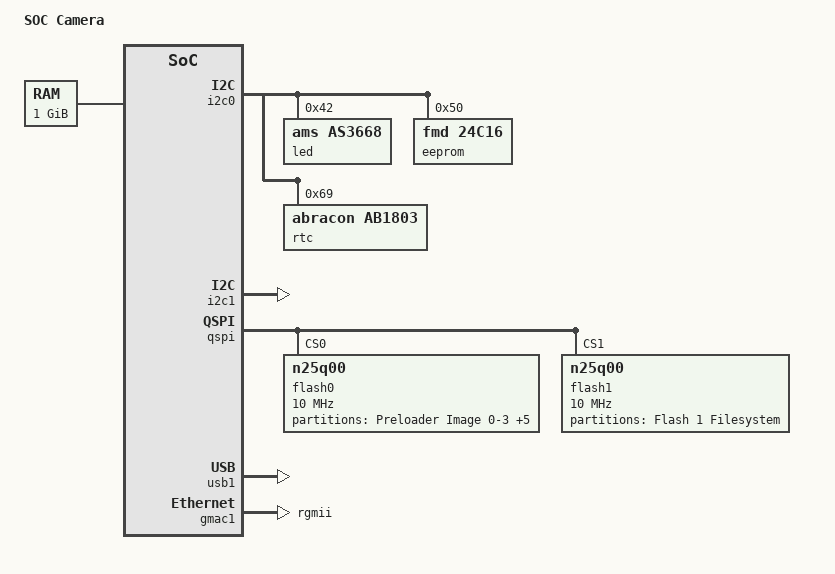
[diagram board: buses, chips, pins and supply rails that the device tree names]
/*
 *  Copyright (C) 2012 Altera Corporation <www.altera.com>
 *
 * This program is free software; you can redistribute it and/or modify
 * it under the terms of the GNU General Public License as published by
 * the Free Software Foundation; either version 2 of the License, or
 * (at your option) any later version.
 *
 * This program is distributed in the hope that it will be useful,
 * but WITHOUT ANY WARRANTY; without even the implied warranty of
 * MERCHANTABILITY or FITNESS FOR A PARTICULAR PURPOSE.  See the
 * GNU General Public License for more details.
 *
 * You should have received a copy of the GNU General Public License
 * along with this program.  If not, see <http://www.gnu.org/licenses/>.
 */

/dts-v1/;
/include/ "socfpga.dtsi"

/ {
	model = "SOC Camera";
	compatible = "altr,socfpga-cyclone5", "altr,socfpga";

	chosen {
		bootargs = "console=ttyS0,115200 root=/dev/mmcblk0p2 rw rootwait";
	};

	memory {
		name = "memory";
		device_type = "memory";
		reg = <0x0 0x40000000>; /* 1 GB */
	};

	aliases {
		/* this allow the ethaddr uboot environmnet variable contents
		 * to be added to the gmac1 device tree blob.
		 */
		ethernet0 = &gmac1;
	};

	soc {
		clkmgr@ffd04000 {
			clocks {
				osc1 {
					clock-frequency = <25000000>;
				};
			};
		};

		dwmmc0@ff704000 {
			num-slots = <1>;
			supports-highspeed;
			broken-cd;
			altr,dw-mshc-ciu-div = <3>;
			altr,dw-mshc-sdr-timing = <0 3>;

			slot@0 {
				reg = <0>;
				bus-width = <4>;
			};
		};

		i2c0: i2c@ffc04000 {
			speed-mode = <0>;
			status = "okay";
		};

		i2c1: i2c@ffc05000 {
			speed-mode = <0>;
			status = "okay";
		};

		qspi: spi@ff705000 {
			compatible = "cadence,qspi";
                        #address-cells = <1>;
			#size-cells = <0>;
			reg = <0xff705000 0x1000>,
				<0xffa00000 0x1000>;
			interrupts = <0 151 4>;
			master-ref-clk = <400000000>;
			ext-decoder = <0>;  /* external decoder */
			num-chipselect = <4>;
			fifo-depth = <128>;
			bus-num = <2>;

			flash0: n25q00@0 {
				#address-cells = <1>;
				#size-cells = <1>;
				compatible = "n25q00";
				reg = <0>;      /* chip select */
				spi-max-frequency = <10000000>;
				m25p,fast-read;
				page-size = <256>;
				block-size = <16>; /* 2^16, 64KB */
				read-delay = <4>;  /* delay value in read data capture register */
				tshsl-ns = <50>;
				tsd2d-ns = <50>;
				tchsh-ns = <4>;
				tslch-ns = <4>;

				partition@qspi-preloader {
					/* 64 KB for preloader image 0-3. */
					label = "Preloader Image 0-3";
					reg = <0x0 0x40000>;
				};
				partition@qspi-ubootenv {
					/* 64 KB for u-Boot Env. */
					label = "U-Boot Env";
					reg = <0x40000 0x10000>;
				};
				partition@qspi-dtb {
					/* 64 KB for DTB */
					label = "DTB";
					reg = <0x50000 0x10000>;
				};
				partition@qspi-uboot {
					/* 512 KB for U-Boot */
					label = "U-Boot";
					reg = <0x60000 0x80000>;
				};
				partition@qspi-kernel {
					/* 8 MB for Kernel */
					label = "Kernel";
					reg = <0xE0000 0x800000>;
				};
				partition@qspi-rootfs {
					/* 7.125 MB for jffs2 data. */
					label = "Flash 0 jffs2 Filesystem";
					reg = <0x8E0000 0x720000>;
				};
			};

			flash1: n25q00@1 {
				#address-cells = <1>;
				#size-cells = <1>;
				compatible = "n25q00";
				reg = <1>;      /* chip select */
				spi-max-frequency = <10000000>;
				m25p,fast-read;
				page-size = <256>;
				block-size = <16>; /* 2^16, 64KB */
				read-delay = <4>;  /* delay value in read data capture register */
				tshsl-ns = <50>;
				tsd2d-ns = <50>;
				tchsh-ns = <4>;
				tslch-ns = <4>;

				partition@0 {
					/* 16MB for raw data. */
					label = "Flash 1 Filesystem";
					reg = <0x0 0x1000000>;
				};
			};
		};

		timer0@ffc08000 {
			clock-frequency = <100000000>;
		};

		timer1@ffc09000 {
			clock-frequency = <100000000>;
		};

		timer2@ffd00000 {
			clock-frequency = <25000000>;
		};

		timer3@ffd01000 {
			clock-frequency = <25000000>;
		};

		serial0@ffc02000 {
			clock-frequency = <100000000>;
		};

		serial1@ffc03000 {
			clock-frequency = <100000000>;
		};

		sysmgr@ffd08000 {
			cpu1-start-addr = <0xffd080c4>;
		};

		usb1: usb@ffb40000 {
			status = "okay";
		};

		watchdog0: wd@ffd02000 {
			status = "okay";
		};
	};

};

&i2c0 {
	/* on SOM */
	led@42 {
		device_type = "led";
		compatible = "ams,as3668";
		reg = <0x42>;
	};
	/* on SOM */
	eeprom@50 {
		compatible = "fmd,24c16";
		reg = <0x50>;
	};
	/* on SOM */
	rtc@69 {
		device_type = "rtc";
		compatible = "abracon,ab1803";
		reg = <0x69>;
	};
};

&gmac1 {
	phy-mode = "rgmii";
	snps,phy-addr = <0xffffffff>; /* probe for phy addr */
	rxd0-skew-ps = <0>;
	rxd0-skew-ps = <0>;
	rxd1-skew-ps = <0>;
	rxd2-skew-ps = <0>;
	rxd3-skew-ps = <0>;
	txen-skew-ps = <0>;
	txc-skew-ps = <2600>;
	rxdv-skew-ps = <0>;
	rxc-skew-ps = <2000>;
	snps,max-mtu = <4062>;
	status = "okay";
};
